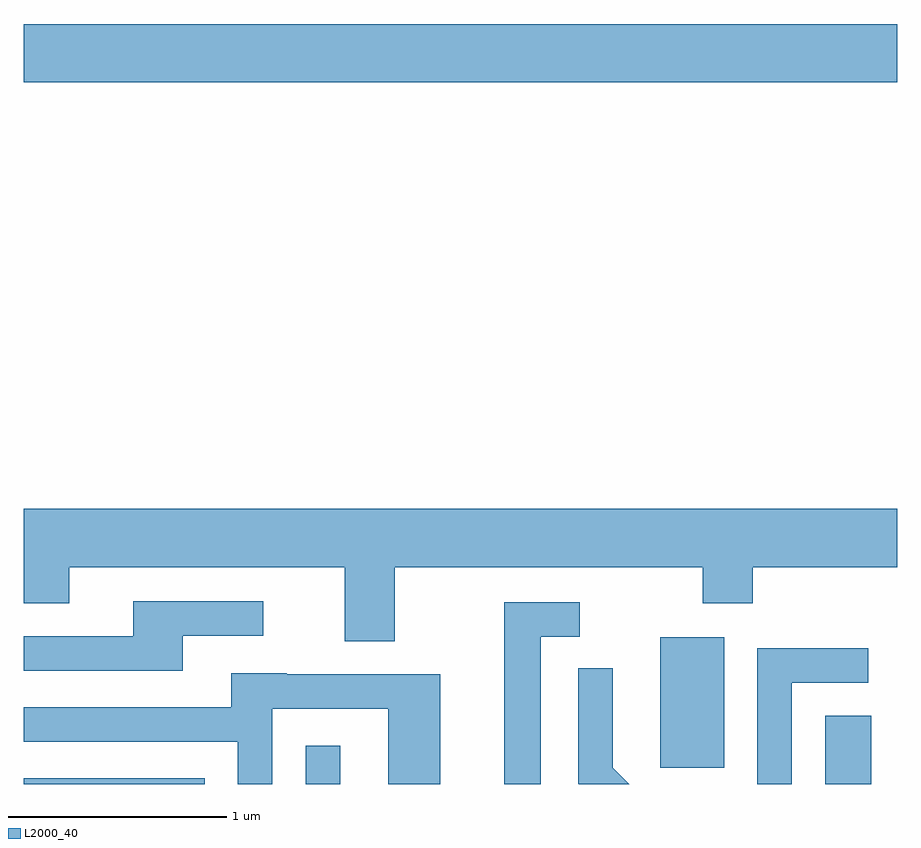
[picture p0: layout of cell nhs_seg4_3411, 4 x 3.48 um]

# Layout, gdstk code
import gdstk
lib = gdstk.Library(unit=1e-6, precision=1e-09)
def R(c, l, rs):  # rectangles x0, y0, x1, y1
    for r in rs: c.add(gdstk.rectangle(r[:2], r[2:], *l))
def P(c, l, *ps):  # polygons
    for p in ps: c.add(gdstk.Polygon(p, *l))
L2000_40 = (2000, 40)

nhs_seg4_3411 = lib.new_cell('nhs_seg4_3411')
R(nhs_seg4_3411, L2000_40, [(285.611,1275.982,286.439,1276.009), (286.901,1275.982,287.059,1276.158), (289.281,1275.982,289.494,1276.294), (288.526,1276.056,288.819,1276.654), (285.611,1279.196,289.611,1279.464)])
P(nhs_seg4_3411, L2000_40, [(287.309,1276.976),(288.721,1276.976),(288.721,1276.811),(288.949,1276.811),(288.949,1276.976),(289.611,1276.976),(289.611,1277.244),(285.611,1277.244),(285.611,1276.811),(285.819,1276.811),(285.819,1276.976),(287.081,1276.976),(287.081,1276.636),(287.309,1276.636)],
  [(286.339,1276.661),(286.708,1276.661),(286.708,1276.819),(286.111,1276.819),(286.111,1276.659),(285.611,1276.659),(285.611,1276.501),(286.339,1276.501)],
  [(287.979,1276.656),(288.158,1276.656),(288.158,1276.814),(287.811,1276.814),(287.811,1275.982),(287.979,1275.982)],
  [(289.129,1276.446),(289.478,1276.446),(289.478,1276.604),(288.971,1276.604),(288.971,1275.982),(289.129,1275.982)],
  [(288.309,1276.057),(288.309,1276.513),(288.151,1276.513),(288.151,1275.984),(288.153,1275.982),(288.384,1275.982)],
  [(286.749,1276.326),(287.281,1276.326),(287.281,1275.982),(287.519,1275.982),(287.519,1276.484),(286.815,1276.484),(286.815,1276.489),(286.561,1276.489),(286.561,1276.334),(285.611,1276.334),(285.611,1276.176),(286.591,1276.176),(286.591,1275.982),(286.749,1275.982)])

lib.write_gds('nhs_seg4_3411.gds')
